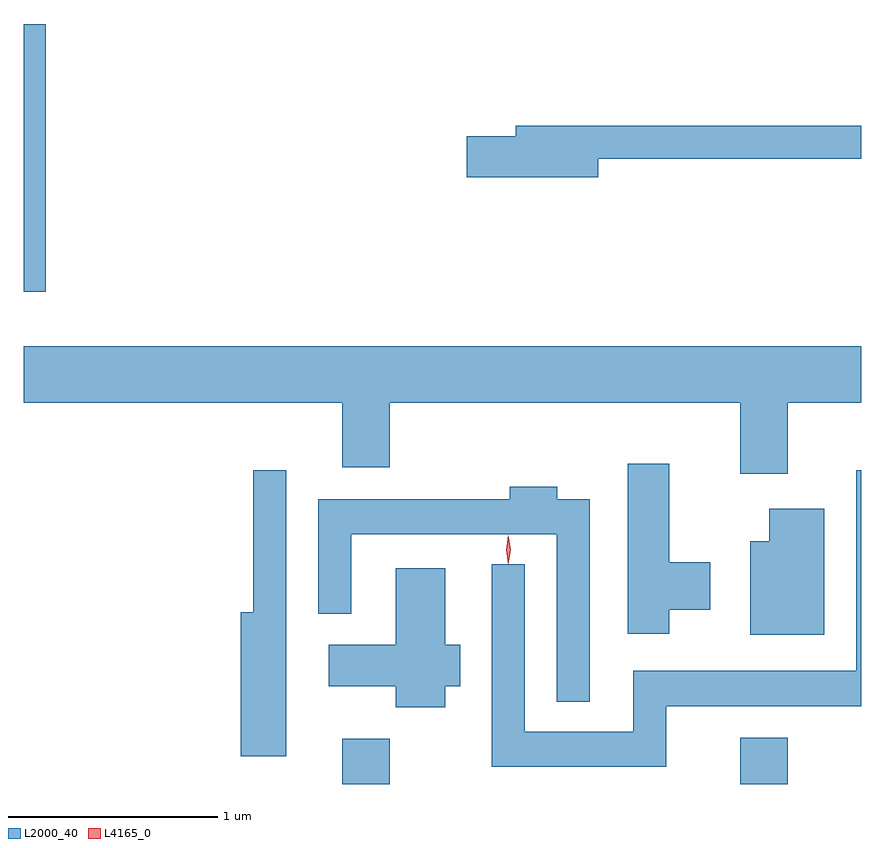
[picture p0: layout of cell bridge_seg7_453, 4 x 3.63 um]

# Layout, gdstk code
import gdstk
lib = gdstk.Library(unit=1e-6, precision=1e-09)
def R(c, l, rs):  # rectangles x0, y0, x1, y1
    for r in rs: c.add(gdstk.rectangle(r[:2], r[2:], *l))
def P(c, l, *ps):  # polygons
    for p in ps: c.add(gdstk.Polygon(p, *l))
L2000_40 = (2000, 40)
L4165_0 = (4165, 0)

bridge_seg7_453 = lib.new_cell('bridge_seg7_453')
R(bridge_seg7_453, L2000_40, [(1069.001,1732.474,1069.229,1732.689), (1070.901,1732.474,1071.129,1732.694), (1067.48,1734.826,1067.584,1736.104)])
P(bridge_seg7_453, L2000_40, [(1070.224,1735.461),(1071.48,1735.461),(1071.48,1735.619),(1069.831,1735.619),(1069.831,1735.569),(1069.596,1735.569),(1069.596,1735.371),(1070.224,1735.371)],
  [(1071.129,1734.296),(1071.48,1734.296),(1071.48,1734.564),(1067.48,1734.564),(1067.48,1734.296),(1069.001,1734.296),(1069.001,1733.986),(1069.229,1733.986),(1069.229,1734.296),(1070.901,1734.296),(1070.901,1733.956),(1071.129,1733.956)],
  [(1070.564,1733.306),(1070.759,1733.306),(1070.759,1733.534),(1070.564,1733.534),(1070.564,1734.004),(1070.366,1734.004),(1070.366,1733.191),(1070.564,1733.191)],
  [(1068.734,1733.973),(1068.576,1733.973),(1068.576,1733.294),(1068.516,1733.294),(1068.516,1732.606),(1068.734,1732.606)],
  [(1070.549,1732.846),(1071.48,1732.846),(1071.48,1733.973),(1071.456,1733.973),(1071.456,1733.014),(1070.391,1733.014),(1070.391,1732.724),(1069.874,1732.724),(1069.874,1733.523),(1069.716,1733.523),(1069.716,1732.556),(1070.549,1732.556)],
  [(1070.184,1733.834),(1070.029,1733.834),(1070.029,1733.894),(1069.801,1733.894),(1069.801,1733.834),(1068.886,1733.834),(1068.886,1733.288),(1069.044,1733.288),(1069.044,1733.666),(1070.026,1733.666),(1070.026,1732.868),(1070.184,1732.868)],
  [(1071.304,1733.789),(1071.041,1733.789),(1071.041,1733.634),(1070.951,1733.634),(1070.951,1733.186),(1071.304,1733.186)],
  [(1069.494,1732.941),(1069.564,1732.941),(1069.564,1733.139),(1069.494,1733.139),(1069.494,1733.504),(1069.256,1733.504),(1069.256,1733.139),(1068.936,1733.139),(1068.936,1732.941),(1069.256,1732.941),(1069.256,1732.841),(1069.494,1732.841)])
P(bridge_seg7_453, L4165_0, [(1069.794,1733.527),(1069.793,1733.528),(1069.784,1733.594),(1069.793,1733.66),(1069.794,1733.66),(1069.794,1733.66),(1069.804,1733.594),(1069.794,1733.528)],
  [(1069.794,1733.524),(1069.785,1733.593),(1069.794,1733.662),(1069.795,1733.663),(1069.795,1733.662),(1069.805,1733.593),(1069.795,1733.524),(1069.795,1733.524)])

lib.write_gds('bridge_seg7_453.gds')
